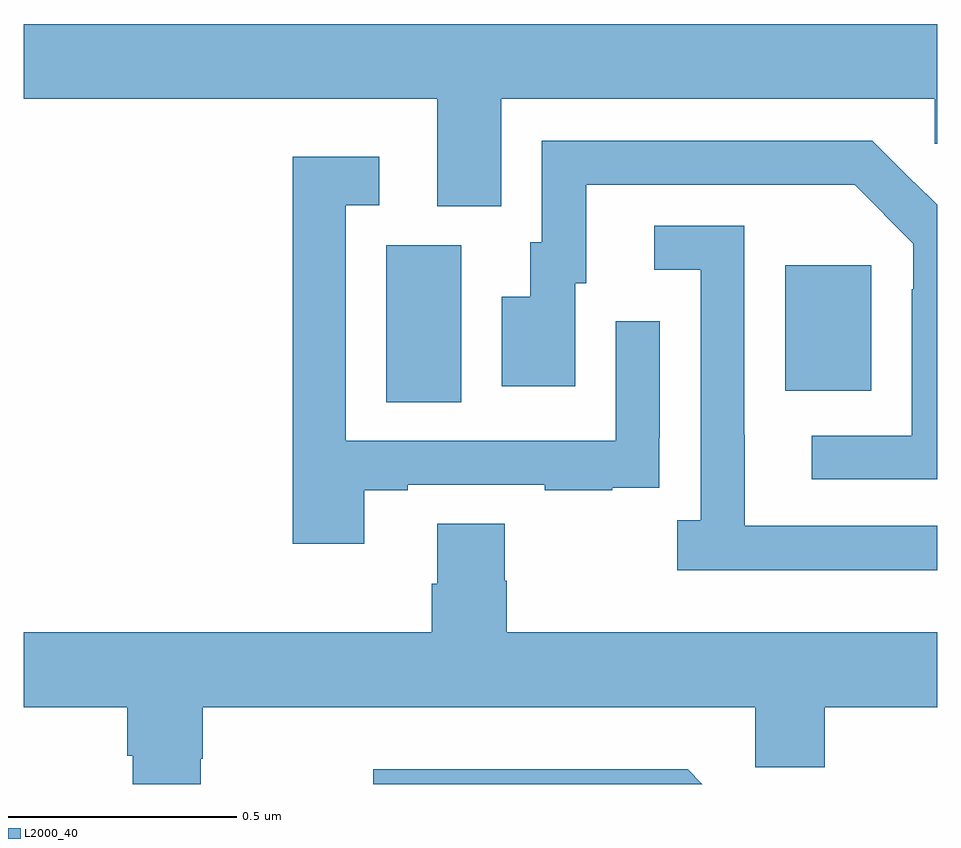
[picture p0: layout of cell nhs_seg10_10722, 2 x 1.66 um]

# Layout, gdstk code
import gdstk
lib = gdstk.Library(unit=1e-6, precision=1e-09)
def R(c, l, rs):  # rectangles x0, y0, x1, y1
    for r in rs: c.add(gdstk.rectangle(r[:2], r[2:], *l))
def P(c, l, *ps):  # polygons
    for p in ps: c.add(gdstk.Polygon(p, *l))
L2000_40 = (2000, 40)

nhs_seg10_10722 = lib.new_cell('nhs_seg10_10722')
R(nhs_seg10_10722, L2000_40, [(246.794,1282.336,246.958,1282.68), (247.667,1282.361,247.855,1282.636)])
P(nhs_seg10_10722, L2000_40, [(247.045,1283),(247.995,1283),(247.995,1282.902),(248,1282.902),(248,1283.164),(246,1283.164),(246,1283),(246.905,1283),(246.905,1282.765),(247.045,1282.765)],
  [(248,1282.768),(247.95,1282.818),(247.949,1282.817),(247.858,1282.908),(247.134,1282.908),(247.134,1282.686),(247.109,1282.686),(247.109,1282.567),(247.046,1282.567),(247.046,1282.371),(247.207,1282.371),(247.207,1282.596),(247.231,1282.596),(247.231,1282.812),(247.819,1282.812),(247.947,1282.683),(247.947,1282.583),(247.944,1282.583),(247.944,1282.263),(247.725,1282.263),(247.725,1282.167),(248,1282.167)],
  [(246.745,1282.143),(246.841,1282.143),(246.841,1282.155),(247.141,1282.155),(247.141,1282.143),(247.289,1282.143),(247.289,1282.149),(247.391,1282.149),(247.391,1282.258),(247.392,1282.258),(247.392,1282.513),(247.296,1282.513),(247.296,1282.251),(246.705,1282.251),(246.705,1282.767),(246.778,1282.767),(246.778,1282.873),(246.589,1282.873),(246.589,1282.026),(246.745,1282.026)],
  [(248,1282.065),(247.579,1282.065),(247.579,1282.265),(247.578,1282.265),(247.578,1282.722),(247.38,1282.722),(247.38,1282.626),(247.482,1282.626),(247.482,1282.078),(247.431,1282.078),(247.431,1281.968),(248,1281.968)],
  [(246.387,1281.555),(246.392,1281.555),(246.392,1281.668),(247.602,1281.668),(247.602,1281.537),(247.754,1281.537),(247.754,1281.668),(248,1281.668),(248,1281.832),(247.058,1281.832),(247.058,1281.945),(247.053,1281.945),(247.053,1282.07),(246.905,1282.07),(246.905,1281.938),(246.893,1281.938),(246.893,1281.832),(246,1281.832),(246,1281.668),(246.227,1281.668),(246.227,1281.562),(246.239,1281.562),(246.239,1281.5),(246.387,1281.5)],
  [(247.454,1281.532),(246.765,1281.532),(246.765,1281.5),(247.486,1281.5)])

lib.write_gds('nhs_seg10_10722.gds')
